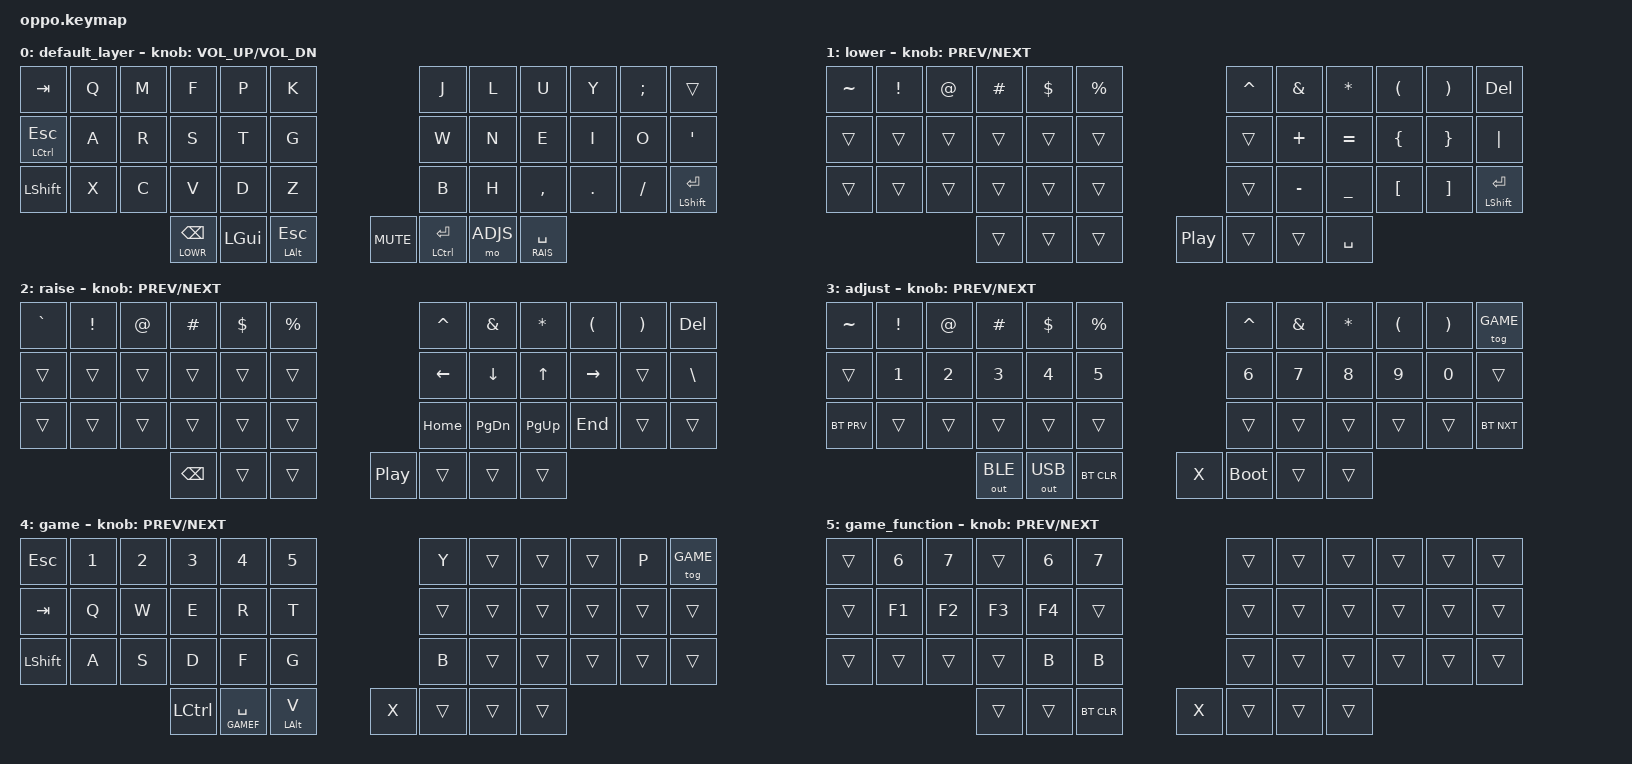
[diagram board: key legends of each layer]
#include <behaviors.dtsi>
#include <dt-bindings/zmk/keys.h>
#include <dt-bindings/zmk/bt.h>
#include <dt-bindings/zmk/outputs.h>


#define DEFAULT 0
#define LOWR 1
#define RAIS 2
#define ADJS 3
#define GAME 4
#define GAMEF 5

/ {
    keymap {
        compatible = "zmk,keymap";

        default_layer {
            bindings = <
    &kp TAB   &kp Q     &kp M    &kp F     &kp P     &kp K                                                 &kp J     &kp L     &kp U     &kp Y     &kp SEMI    &trans
&mt LCTRL ESC &kp A     &kp R    &kp S     &kp T     &kp G                                                 &kp W     &kp N     &kp E     &kp I     &kp O      &kp SQT
    &kp LSHFT &kp X  	&kp C    &kp V     &kp D     &kp Z                                                 &kp B     &kp H     &kp COMMA &kp DOT   &kp FSLH &mt LSHFT RET
                                 &lt LOWR BSPC  &kp LGUI  &mt LALT ESC               &kp C_MUTE          &mt LCTRL RET  &mo ADJS  &lt RAIS SPACE
            >;

            sensor-bindings = <&inc_dec_kp C_VOL_UP C_VOL_DN>;
        };

        lower {
          bindings = <
    &kp TILDE &kp EXCL  &kp AT   &kp POUND &kp DLLR  &kp PRCNT                                             &kp CARET &kp AMPS  &kp STAR  &kp LPAR  &kp RPAR &kp DEL
    &trans    &trans    &trans   &trans    &trans    &trans                                                &trans    &kp PLUS  &kp EQUAL &kp LBRC  &kp RBRC &kp PIPE
    &trans    &trans    &trans   &trans    &trans    &trans                                                &trans    &kp MINUS &kp UNDER &kp LBKT  &kp RBKT &mt LSHFT RET
                                 &trans    &trans    &trans               &kp C_PLAY_PAUSE                 &trans    &trans    &kp SPACE
            >;

            sensor-bindings = <&inc_dec_kp C_PREV C_NEXT>;
        };

        raise {
          bindings = <
    &kp GRAVE &kp EXCL  &kp AT   &kp POUND &kp DLLR  &kp PRCNT                                             &kp CARET &kp AMPS  &kp STAR  &kp LPAR  &kp RPAR  &kp DEL
    &trans    &trans    &trans   &trans    &trans    &trans                                                &kp LEFT  &kp DOWN  &kp UP    &kp RIGHT &trans   &kp BSLH
    &trans    &trans    &trans   &trans    &trans    &trans                                                &kp HOME  &kp PG_DN &kp PG_UP &kp END   &trans   &trans
                                 &kp BSPC    &trans    &trans                &kp C_PLAY_PAUSE                &trans    &trans    &trans
            >;

            sensor-bindings = <&inc_dec_kp C_PREV C_NEXT>;
        };

        adjust {
          bindings = <
    &kp TILDE &kp EXCL  &kp AT   &kp POUND &kp DLLR  &kp PRCNT                                             &kp CARET &kp AMPS  &kp STAR  &kp LPAR  &kp RPAR &tog GAME
    &trans    &kp N1    &kp N2   &kp N3    &kp N4    &kp N5                                                &kp N6    &kp N7    &kp N8    &kp N9    &kp N0   &trans
   &bt BT_PRV &trans    &trans   &trans    &trans    &trans                                                &trans    &trans    &trans    &trans    &trans   &bt BT_NXT
                                &out OUT_BLE   &out OUT_USB   &bt BT_CLR                   &kp X                   &bootloader   &trans    &trans
            >;

            sensor-bindings = <&inc_dec_kp C_PREV C_NEXT>;
        };


        game {
          bindings = <
    &kp ESC   &kp N1    &kp N2   &kp N3    &kp N4    &kp N5                                                &kp Y     &trans    &trans    &trans   &kp P    &tog GAME
    &kp TAB   &kp Q     &kp W    &kp E     &kp R     &kp T                                                 &trans    &trans    &trans    &trans   &trans   &trans
    &kp LSHFT &kp A     &kp S    &kp D     &kp F     &kp G                                                 &kp B    &trans    &trans    &trans    &trans   &trans
                                 &kp LCTRL &lt GAMEF SPACE &mt LALT V              &kp X                   &trans   &trans    &trans
            >;

            sensor-bindings = <&inc_dec_kp C_PREV C_NEXT>;
        };

        game_function {
          bindings = <
    &trans    &kp N6    &kp N7   &trans    &kp N6    &kp N7                                                &trans    &trans    &trans    &trans    &trans   &trans
    &trans    &kp F1    &kp F2   &kp F3    &kp F4    &trans                                                &trans    &trans    &trans    &trans    &trans   &trans
    &trans    &trans    &trans   &trans    &kp B     &kp B                                                 &trans    &trans    &trans    &trans    &trans   &trans
                                 &trans    &trans    &bt BT_CLR                   &kp X                   &trans   &trans    &trans
            >;

            sensor-bindings = <&inc_dec_kp C_PREV C_NEXT>;
        };
    };
}; 

/ {
    combos {
        compatible = "zmk,combos";
        combo_tilde {
            timeout-ms = <100>;
            key-positions = <1 2>;
            layers = <0>;
            bindings = <&kp TILDE>;
        };
        combo_minus {
            timeout-ms = <100>;
            key-positions = <19 20>;
            bindings = <&kp MINUS>;
        };
        combo_underscore {
            timeout-ms = <100>;
            key-positions = <31 32>;
            bindings = <&kp UNDER>;
        };
    };
};
